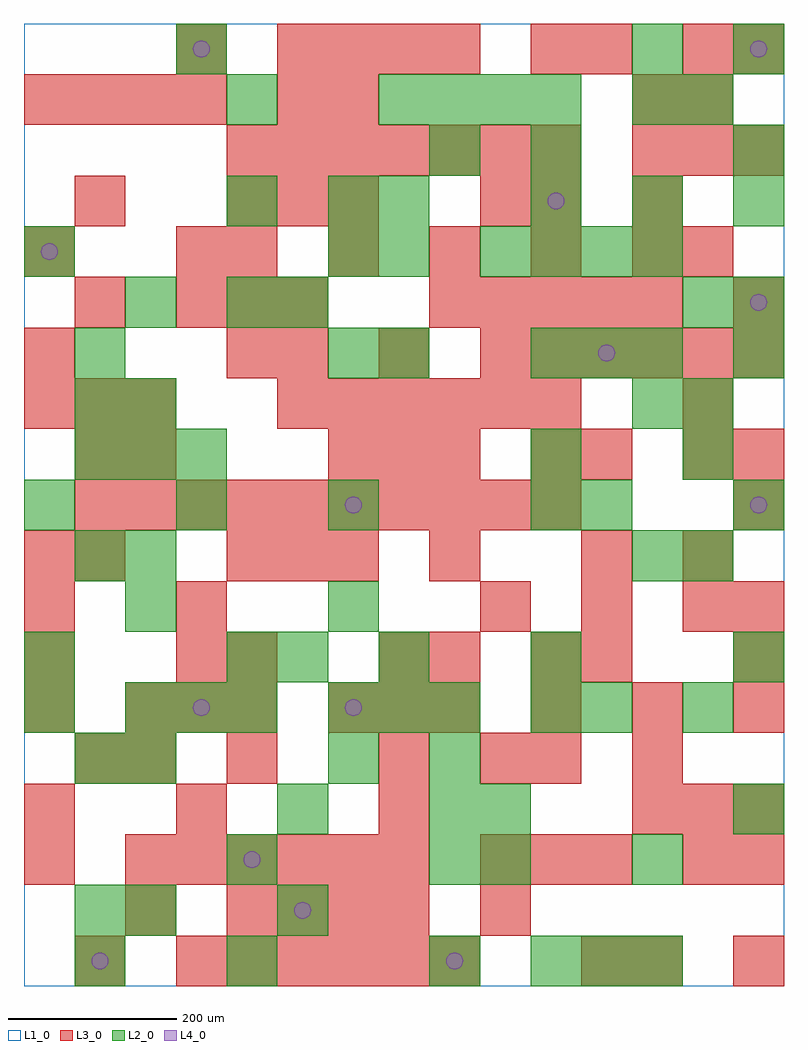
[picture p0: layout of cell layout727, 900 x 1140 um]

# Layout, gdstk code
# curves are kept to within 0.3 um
import gdstk
lib = gdstk.Library(unit=1e-6, precision=1e-09)
def R(c, l, rs):  # rectangles x0, y0, x1, y1
    for r in rs: c.add(gdstk.rectangle(r[:2], r[2:], *l))
def A(c, l, x, y, w, h, nx, ny, dx, dy):  # array of equal rectangles
    R(c, l, [(x+i*dx, y+j*dy, x+i*dx+w, y+j*dy+h) for i in range(nx) for j in range(ny)])
def P(c, l, *ps):  # polygons
    for p in ps: c.add(gdstk.Polygon(p, *l))
L1_0 = (1, 0)
L2_0 = (2, 0)
L3_0 = (3, 0)
L4_0 = (4, 0)

layout727 = lib.new_cell('layout727')
R(layout727, L1_0, [(0,0,900,1140)])
A(layout727, L2_0, 600, 0, 60, 60, 3, 2, 60, 720)
A(layout727, L2_0, 120, 60, 60, 60, 1, 3, 0, 180)
A(layout727, L2_0, 480, 120, 60, 60, 1, 3, 0, 60)
A(layout727, L2_0, 840, 180, 60, 60, 1, 4, 0, 180)
A(layout727, L2_0, 120, 300, 60, 60, 3, 1, 60, 0)
A(layout727, L2_0, 360, 300, 60, 60, 3, 1, 60, 0)
A(layout727, L2_0, 0, 540, 60, 60, 3, 1, 180, 0)
A(layout727, L2_0, 60, 600, 60, 60, 3, 1, 60, 0)
A(layout727, L2_0, 240, 780, 60, 60, 1, 3, 0, 120)
A(layout727, L2_0, 540, 840, 60, 60, 4, 1, 60, 0)
A(layout727, L2_0, 600, 900, 60, 60, 3, 1, 120, 0)
A(layout727, L2_0, 420, 1020, 60, 60, 4, 1, 60, 0)
R(layout727, L2_0, [(60,0,120,60), (240,0,300,60), (480,0,540,60), (60,60,120,120), (300,60,360,120), (240,120,300,180), (540,120,600,180), (720,120,780,180), (300,180,360,240), (540,180,600,240), (60,240,120,300), (360,240,420,300), (0,300,60,360), (600,300,660,360), (660,300,720,360), (780,300,840,360), (0,360,60,420), (240,360,300,420), (300,360,360,420), (420,360,480,420), (600,360,660,420), (360,420,420,480), (60,480,120,540), (120,480,180,540), (720,480,780,540), (780,480,840,540), (600,540,660,600), (660,540,720,600), (600,600,660,660), (780,600,840,660), (60,660,120,720), (120,660,180,720), (720,660,780,720), (780,660,840,720), (60,720,120,780), (360,720,420,780), (420,720,480,780), (120,780,180,840), (300,780,360,840), (780,780,840,840), (840,780,900,840), (0,840,60,900), (360,840,420,900), (420,840,480,900), (360,900,420,960), (420,900,480,960), (480,960,540,1020), (600,960,660,1020), (840,960,900,1020), (720,1020,780,1080), (780,1020,840,1080), (180,1080,240,1140), (720,1080,780,1140), (840,1080,900,1140)])
A(layout727, L3_0, 60, 0, 60, 60, 1, 3, 0, 240)
A(layout727, L3_0, 180, 0, 60, 60, 6, 1, 60, 0)
A(layout727, L3_0, 240, 60, 60, 60, 4, 1, 60, 0)
A(layout727, L3_0, 120, 120, 60, 60, 6, 1, 60, 0)
A(layout727, L3_0, 540, 120, 60, 60, 3, 1, 60, 0)
A(layout727, L3_0, 720, 180, 60, 60, 3, 2, 60, 780)
A(layout727, L3_0, 0, 300, 60, 60, 1, 4, 0, 60)
A(layout727, L3_0, 120, 300, 60, 60, 3, 1, 60, 0)
A(layout727, L3_0, 360, 300, 60, 60, 3, 2, 60, 300)
A(layout727, L3_0, 600, 300, 60, 60, 3, 1, 120, 0)
A(layout727, L3_0, 660, 360, 60, 60, 1, 3, 0, 120)
A(layout727, L3_0, 540, 420, 60, 60, 3, 1, 120, 0)
A(layout727, L3_0, 240, 480, 60, 60, 3, 2, 60, 420)
A(layout727, L3_0, 60, 540, 60, 60, 10, 1, 60, 0)
A(layout727, L3_0, 0, 660, 60, 60, 3, 1, 60, 0)
A(layout727, L3_0, 300, 660, 60, 60, 6, 1, 60, 0)
A(layout727, L3_0, 780, 660, 60, 60, 1, 3, 0, 180)
A(layout727, L3_0, 300, 720, 60, 60, 3, 1, 120, 0)
A(layout727, L3_0, 600, 720, 60, 60, 5, 1, 60, 0)
A(layout727, L3_0, 180, 780, 60, 60, 3, 1, 60, 0)
A(layout727, L3_0, 480, 780, 60, 60, 5, 1, 60, 0)
A(layout727, L3_0, 240, 840, 60, 60, 5, 1, 120, 0)
A(layout727, L3_0, 240, 960, 60, 60, 7, 1, 60, 0)
A(layout727, L3_0, 0, 1020, 60, 60, 4, 1, 60, 0)
A(layout727, L3_0, 300, 1080, 60, 60, 4, 1, 60, 0)
R(layout727, L3_0, [(660,0,720,60), (720,0,780,60), (840,0,900,60), (120,60,180,120), (540,60,600,120), (0,120,60,180), (780,120,840,180), (840,120,900,180), (0,180,60,240), (180,180,240,240), (420,180,480,240), (120,240,180,300), (240,240,300,300), (420,240,480,300), (540,240,600,300), (600,240,660,300), (720,240,780,300), (180,360,240,420), (240,360,300,420), (420,360,480,420), (480,360,540,420), (600,360,660,420), (840,360,900,420), (180,420,240,480), (840,420,900,480), (480,480,540,540), (780,480,840,540), (840,540,900,600), (60,600,120,660), (120,600,180,660), (600,600,660,660), (780,600,840,660), (840,600,900,660), (0,720,60,780), (240,720,300,780), (60,780,120,840), (840,780,900,840), (0,840,60,900), (180,840,240,900), (60,900,120,960), (540,900,600,960), (600,900,660,960), (720,900,780,960), (300,1020,360,1080), (360,1020,420,1080), (720,1020,780,1080), (180,1080,240,1140), (600,1080,660,1140), (660,1080,720,1140), (780,1080,840,1140), (840,1080,900,1140)])
P(layout727, L4_0, [(40,870),(39.239,873.827),(37.071,877.071),(33.827,879.239),(30,880),(26.173,879.239),(22.929,877.071),(20.761,873.827),(20,870),(20.761,866.173),(22.929,862.929),(26.173,860.761),(30,860),(33.827,860.761),(37.071,862.929),(39.239,866.173)],
  [(100,30),(99.239,33.827),(97.071,37.071),(93.827,39.239),(90,40),(86.173,39.239),(82.929,37.071),(80.761,33.827),(80,30),(80.761,26.173),(82.929,22.929),(86.173,20.761),(90,20),(93.827,20.761),(97.071,22.929),(99.239,26.173)],
  [(220,330),(219.239,333.827),(217.071,337.071),(213.827,339.239),(210,340),(206.173,339.239),(202.929,337.071),(200.761,333.827),(200,330),(200.761,326.173),(202.929,322.929),(206.173,320.761),(210,320),(213.827,320.761),(217.071,322.929),(219.239,326.173)],
  [(220,1110),(219.239,1113.827),(217.071,1117.071),(213.827,1119.239),(210,1120),(206.173,1119.239),(202.929,1117.071),(200.761,1113.827),(200,1110),(200.761,1106.173),(202.929,1102.929),(206.173,1100.761),(210,1100),(213.827,1100.761),(217.071,1102.929),(219.239,1106.173)],
  [(280,150),(279.239,153.827),(277.071,157.071),(273.827,159.239),(270,160),(266.173,159.239),(262.929,157.071),(260.761,153.827),(260,150),(260.761,146.173),(262.929,142.929),(266.173,140.761),(270,140),(273.827,140.761),(277.071,142.929),(279.239,146.173)],
  [(340,90),(339.239,93.827),(337.071,97.071),(333.827,99.239),(330,100),(326.173,99.239),(322.929,97.071),(320.761,93.827),(320,90),(320.761,86.173),(322.929,82.929),(326.173,80.761),(330,80),(333.827,80.761),(337.071,82.929),(339.239,86.173)],
  [(400,330),(399.239,333.827),(397.071,337.071),(393.827,339.239),(390,340),(386.173,339.239),(382.929,337.071),(380.761,333.827),(380,330),(380.761,326.173),(382.929,322.929),(386.173,320.761),(390,320),(393.827,320.761),(397.071,322.929),(399.239,326.173)],
  [(400,570),(399.239,573.827),(397.071,577.071),(393.827,579.239),(390,580),(386.173,579.239),(382.929,577.071),(380.761,573.827),(380,570),(380.761,566.173),(382.929,562.929),(386.173,560.761),(390,560),(393.827,560.761),(397.071,562.929),(399.239,566.173)],
  [(520,30),(519.239,33.827),(517.071,37.071),(513.827,39.239),(510,40),(506.173,39.239),(502.929,37.071),(500.761,33.827),(500,30),(500.761,26.173),(502.929,22.929),(506.173,20.761),(510,20),(513.827,20.761),(517.071,22.929),(519.239,26.173)],
  [(640,930),(639.239,933.827),(637.071,937.071),(633.827,939.239),(630,940),(626.173,939.239),(622.929,937.071),(620.761,933.827),(620,930),(620.761,926.173),(622.929,922.929),(626.173,920.761),(630,920),(633.827,920.761),(637.071,922.929),(639.239,926.173)],
  [(700,750),(699.239,753.827),(697.071,757.071),(693.827,759.239),(690,760),(686.173,759.239),(682.929,757.071),(680.761,753.827),(680,750),(680.761,746.173),(682.929,742.929),(686.173,740.761),(690,740),(693.827,740.761),(697.071,742.929),(699.239,746.173)],
  [(880,570),(879.239,573.827),(877.071,577.071),(873.827,579.239),(870,580),(866.173,579.239),(862.929,577.071),(860.761,573.827),(860,570),(860.761,566.173),(862.929,562.929),(866.173,560.761),(870,560),(873.827,560.761),(877.071,562.929),(879.239,566.173)],
  [(880,810),(879.239,813.827),(877.071,817.071),(873.827,819.239),(870,820),(866.173,819.239),(862.929,817.071),(860.761,813.827),(860,810),(860.761,806.173),(862.929,802.929),(866.173,800.761),(870,800),(873.827,800.761),(877.071,802.929),(879.239,806.173)],
  [(880,1110),(879.239,1113.827),(877.071,1117.071),(873.827,1119.239),(870,1120),(866.173,1119.239),(862.929,1117.071),(860.761,1113.827),(860,1110),(860.761,1106.173),(862.929,1102.929),(866.173,1100.761),(870,1100),(873.827,1100.761),(877.071,1102.929),(879.239,1106.173)])

lib.write_gds('layout727.gds')
